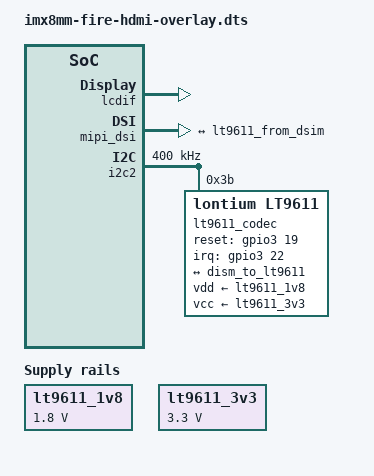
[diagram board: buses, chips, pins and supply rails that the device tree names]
/*
 * Copyright (C) 2021 - All Rights Reserved by 
 * filename : imx8mm-fire-hdmi-overlay.dts
 * brief : Device Tree overlay for ebf imx8mm lt9611 device
 * author : embedfire
 * date : 2021-12-04 
 * version : A001
 */

/dts-v1/;
/plugin/;

#include "../imx8mm-pinfunc.h"
#include "dt-bindings/gpio/gpio.h"
#include "dt-bindings/interrupt-controller/arm-gic.h"

/ {
	fragment@0 {
		target-path = "/";
		__overlay__ {
			lt9611_1v8:regulator-lt9611_1v8 {
				compatible = "regulator-fixed";
				regulator-name = "lt9611_1v8";
				regulator-min-microvolt = <1800000>;
				regulator-max-microvolt = <1800000>;
				regulator-always-on;
				regulator-boot-on;
			};

			lt9611_3v3:regulator-lt9611_3v3 {
				compatible = "regulator-fixed";
				regulator-name = "lt9611_3v3";
				regulator-min-microvolt = <3300000>;
				regulator-max-microvolt = <3300000>;
				regulator-always-on;
				regulator-boot-on;
			};
		};
	};

        fragment@1 {
                target= <&lcdif>;
                __overlay__{
                        status = "okay";
                };
        };

	fragment@2 {
		target= <&mipi_dsi>;
		__overlay__{
			status = "okay";
			port@1 {
				dism_to_lt9611: endpoint {
					remote-endpoint = <&lt9611_from_dsim>;
					attach-bridge;
				};
			};
		};
	};

	fragment@3 {
		target= <&i2c2>;
		__overlay__{
                        clock-frequency = <400000>;
                        pinctrl-names = "default";
                        pinctrl-0 = <&pinctrl_i2c2>;
                        status = "okay";

                        #address-cells = <1>;
                        #size-cells = <0>;
			
			lt9611_codec: hdmi-bridge@3b {
				compatible = "lontium,lt9611";
				reg = <0x3b>;
				pinctrl-names = "default";
				pinctrl-0 = <&pinctrl_lt9611>;
				reset-gpios = <&gpio3 19 GPIO_ACTIVE_HIGH>;
				/*interrupts-extended = <&tlmm 84 IRQ_TYPE_EDGE_FALLING>;*/
				interrupt-parent = <&gpio3>;
				interrupts = <22 IRQ_TYPE_EDGE_FALLING>;
				vdd-supply = <&lt9611_1v8>;
				vcc-supply = <&lt9611_3v3>;

				ports {
					#address-cells = <1>;
					#size-cells = <0>;

					port@0 {
						reg = <0>;
						lt9611_from_dsim: endpoint {
							remote-endpoint = <&dism_to_lt9611>;
						};
					};
				};
			};
		};
	};

	fragment@4 {
		target= <&iomuxc>;
		__overlay__{
                        pinctrl_i2c2: i2c2grp {
                                fsl,pins = <
                                        MX8MM_IOMUXC_I2C2_SCL_I2C2_SCL                  0x400001c3
                                        MX8MM_IOMUXC_I2C2_SDA_I2C2_SDA                  0x400001c3
                                >;
                        };

			pinctrl_lt9611: lt9611grp {
				fsl,pins = <
					MX8MM_IOMUXC_SAI5_RXFS_GPIO3_IO19       0x19
					MX8MM_IOMUXC_SAI5_RXD1_GPIO3_IO22       0x19
				>;
			};
		};
	};
};
